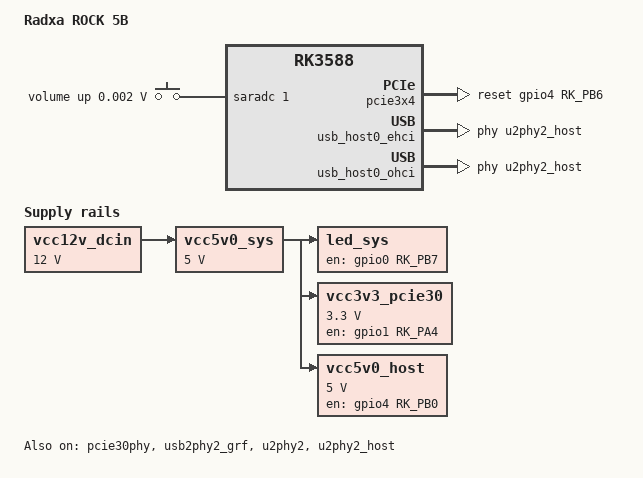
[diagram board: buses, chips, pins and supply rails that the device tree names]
// SPDX-License-Identifier: (GPL-2.0+ OR MIT)
/*
 * Copyright (c) 2021 Rockchip Electronics Co., Ltd
 *
 */

/dts-v1/;
#include "rk3588.dtsi"
#include "rk3588-u-boot.dtsi"
#include <dt-bindings/input/input.h>

/ {
	model = "Radxa ROCK 5B";
	compatible = "radxa,rock-5b", "rockchip,rk3588";

	vcc12v_dcin: vcc12v-dcin {
		u-boot,dm-pre-reloc;
		compatible = "regulator-fixed";
		regulator-name = "vcc12v_dcin";
		regulator-always-on;
		regulator-boot-on;
		regulator-min-microvolt = <12000000>;
		regulator-max-microvolt = <12000000>;
	};

	vcc5v0_sys: vcc5v0-sys {
		u-boot,dm-pre-reloc;
		compatible = "regulator-fixed";
		regulator-name = "vcc5v0_sys";
		regulator-always-on;
		regulator-boot-on;
		regulator-min-microvolt = <5000000>;
		regulator-max-microvolt = <5000000>;
		vin-supply = <&vcc12v_dcin>;
	};

	led_sys: led-sys {
		u-boot,dm-pre-reloc;
		compatible = "regulator-fixed";
		regulator-name = "led_sys";
		enable-active-high;
		gpio = <&gpio0 RK_PB7 GPIO_ACTIVE_HIGH>; // Turn on user led
		regulator-boot-on;
		regulator-always-on;
		vin-supply = <&vcc5v0_sys>;
	};

	adc-keys {
		compatible = "adc-keys";
		io-channels = <&saradc 1>;
		io-channel-names = "buttons";
		keyup-threshold-microvolt = <1800000>;
		u-boot,dm-pre-reloc;
		status = "okay";

		volumeup-key {
			u-boot,dm-pre-reloc;
			linux,code = <KEY_VOLUMEUP>;
			label = "volume up";
			press-threshold-microvolt = <1750>;
		};
	};

	vcc3v3_pcie30: vcc3v3-pcie30 {
		u-boot,dm-pre-reloc;
		compatible = "regulator-fixed";
		regulator-name = "vcc3v3_pcie30";
		regulator-min-microvolt = <3300000>;
		regulator-max-microvolt = <3300000>;
		enable-active-high;
		gpio = <&gpio1 RK_PA4 GPIO_ACTIVE_HIGH>;
		regulator-boot-on;
		regulator-always-on;
		vin-supply = <&vcc5v0_sys>;
	};

	vcc5v0_host: vcc5v0-host-regulator {
		u-boot,dm-pre-reloc;
		compatible = "regulator-fixed";
		regulator-name = "vcc5v0_host";
		regulator-boot-on;
		regulator-always-on;
		regulator-min-microvolt = <5000000>;
		regulator-max-microvolt = <5000000>;
		enable-active-high;
		gpio = <&gpio4 RK_PB0 GPIO_ACTIVE_HIGH>;
		pinctrl-names = "default";
		pinctrl-0 = <&vcc5v0_host_en>;
		vin-supply = <&vcc5v0_sys>;
	};
};

&pcie3x4 {
	u-boot,dm-pre-reloc;
	reset-gpios = <&gpio4 RK_PB6 GPIO_ACTIVE_HIGH>;
	status = "okay";

};

&pcie30phy {
	u-boot,dm-pre-reloc;
	status = "okay";
};

&pinctrl {
	usb {
		u-boot,dm-pre-reloc;
		vcc5v0_host_en: vcc5v0-host-en {
			u-boot,dm-pre-reloc;
			rockchip,pins = <4 RK_PB0 RK_FUNC_GPIO &pcfg_pull_none>;
		};
	};
};

// USB20_HOST0 goes to USB2 hub						- u2phy2_host ?
// USB20_HOST1 goes to USB3 port (top USB3 port?)	- ?

// not possible to enable:
// TYPEC0_USB20 goes to USB-C port ()				- u2phy0_otg ?
// TYPEC1_USB20 goes to USB3 port (bottom USB3 port?)

// TODO check me out
&usb_host0_ehci {
	status = "okay";
	u-boot,dm-pre-reloc;
	clocks = <&cru HCLK_HOST0>, <&cru HCLK_HOST_ARB0>, <&u2phy2>;
	clock-names = "usbhost", "arbiter", "utmi";
	companion = <&usb_host0_ohci>;
	phys = <&u2phy2_host>;
	phy-names = "usb2-phy";
};

// TODO check me out
// TODO it crashes on boot
&usb_host0_ohci {
	status = "okay";
	u-boot,dm-pre-reloc;
	clocks = <&cru HCLK_HOST0>, <&cru HCLK_HOST_ARB0>, <&u2phy2>;
	clock-names = "usbhost", "arbiter", "utmi";
	phys = <&u2phy2_host>;
	phy-names = "usb2-phy";
};

// TODO check me out
&usb2phy2_grf {
	status = "okay";
	u-boot,dm-pre-reloc;
};

// TODO pre-alloc _first_ in all of these nodes
// TODO check me out
&u2phy2 {
	status = "okay";
	u-boot,dm-pre-reloc;

	// TODO is this needed ?
	resets = <&cru SRST_OTGPHY_U2_0>, <&cru SRST_P_USB2PHY_U2_0_GRF0>;
	reset-names = "phy", "apb";

	// TODO is this needed ?
	clock-output-names = "usb480m_phy2";
};

// TODO check me out
&u2phy2_host {
	status = "okay";
	// TODO is this needed ?
	phy-supply = <&vcc5v0_host>;
	u-boot,dm-pre-reloc;
};
